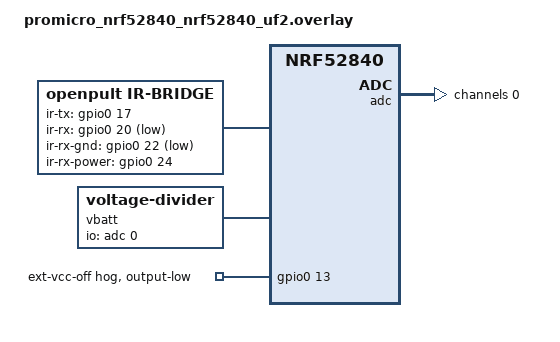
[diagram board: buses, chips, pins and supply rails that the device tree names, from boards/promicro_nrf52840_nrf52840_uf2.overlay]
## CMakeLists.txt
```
cmake_minimum_required(VERSION 3.20.0)

# The production overlays disable the USB controller; the debug build needs it back.
if(EXTRA_CONF_FILE MATCHES "debug\\.conf")
  list(APPEND EXTRA_DTC_OVERLAY_FILE ${CMAKE_CURRENT_SOURCE_DIR}/debug.overlay)
endif()

find_package(Zephyr REQUIRED HINTS $ENV{ZEPHYR_BASE})
project(openpult_ir)

# Protocol logic, OS independent (host-tested in tests/host).
file(GLOB IRPLAY_SOURCES ${CMAKE_CURRENT_SOURCE_DIR}/lib/irplay/src/*.c)
target_include_directories(app PRIVATE src lib/irplay/include)

target_sources(app PRIVATE
  ${IRPLAY_SOURCES}
  src/main.c
  src/ble.c
  src/ir.c
  src/battery.c
  src/battery_curve.c
)

if(CONFIG_SOC_FAMILY_NORDIC_NRF)
  target_sources(app PRIVATE
    src/hal/nrf/ir_hal_nrf.c
    src/hal/nrf/platform_nrf.c
  )
endif()
```

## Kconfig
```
mainmenu "openpult IR bridge"

menu "openpult IR bridge"

config OPENPULT_BATT_CELLS
	int "Battery cells in series"
	default 3
	range 1 4
	help
	  Alkaline or NiMH cells in the pack; the state of charge is computed from the
	  per-cell voltage (PROTOCOL.md, Battery).

config OPENPULT_BATT_DIODE_MV
	int "Drop between the battery and the measured node (mV)"
	default 250
	range 0 1000
	help
	  Added to the measured voltage, e.g. the Schottky diode in front of B+.
	  Use 0 when the battery is measured directly.

config OPENPULT_BATT_LI_ION
	bool "Li-ion battery"
	help
	  Use the Li-ion curve (4.20 V full, 3.30 V empty, low below 3.50 V per cell)
	  instead of the alkaline curve of the protocol. For boards measuring a Li-ion
	  cell on their BAT input; set OPENPULT_BATT_CELLS=1 and OPENPULT_BATT_DIODE_MV=0.

config OPENPULT_USB_POWERED
	bool "Powered from USB, no battery"
	help
	  No battery measurement; Status reports external power (flags bit4) with
	  battery_mV = 0 and the Battery Service reports 100 %.

config OPENPULT_LEARN
	bool "Learning with an IR receiver"
	default y
	select NRFX_GPPI if SOC_FAMILY_NORDIC_NRF
	help
	  Capture codes from a demodulating receiver wired as ir-rx-gpios in the
	  devicetree. Without that property the capability is not reported.

config OPENPULT_TX_HIGH_DRIVE
	bool "High drive strength on the IR output"
	default y
	help
	  Drives the LED straight from the pin (about 8 mA through 220 Ohm at 3.3 V).
	  Not needed with a transistor driver.

config OPENPULT_DEBUG_LED
	bool "Light led0 while IR is transmitted"
	depends on GPIO

module = OPENPULT
module-str = openpult
source "subsys/logging/Kconfig.template.log_config"

endmenu

# DIS strings from the build: firmware version from VERSION, hardware = board target.
config BT_DIS_FW_REV_STR
	default "$(APPVERSION)"

config BT_DIS_HW_REV_STR
	default "$(BOARD)/$(BOARD_QUALIFIERS)"

source "Kconfig.zephyr"
```

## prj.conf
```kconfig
# Production build: no console, no USB, no logs. debug.conf adds them.

# Bluetooth LE peripheral
CONFIG_BT=y
CONFIG_BT_PERIPHERAL=y
CONFIG_BT_DEVICE_NAME="OpenPult"
# Generic Remote Control
CONFIG_BT_DEVICE_APPEARANCE=384
CONFIG_BT_MAX_CONN=2
CONFIG_BT_CTLR_TX_PWR_0=y
# Static random identity address: iOS keys the accessory by it.
CONFIG_BT_PRIVACY=n

# Large writes in one ATT PDU (244 bytes); no prepared writes.
CONFIG_BT_L2CAP_TX_MTU=247
CONFIG_BT_BUF_ACL_RX_SIZE=251
CONFIG_BT_BUF_ACL_TX_SIZE=251
CONFIG_BT_CTLR_DATA_LENGTH_MAX=251
CONFIG_BT_ATT_PREPARE_COUNT=0

# LE Secure Connections, Just Works, bonding (2 bonds, oldest overwritten)
CONFIG_BT_SMP=y
CONFIG_BT_SMP_SC_PAIR_ONLY=y
CONFIG_BT_SMP_APP_PAIRING_ACCEPT=y
# Re-pairing after "Forget This Device" reuses the iPhone's identity; without this
# Zephyr refuses Just Works over the old key. Who may pair at all is decided in
# pairing_accept (no bonds yet, or 120 s after power-on).
CONFIG_BT_SMP_ALLOW_UNAUTH_OVERWRITE=y
CONFIG_BT_BONDABLE=y
CONFIG_BT_MAX_PAIRED=2
CONFIG_BT_KEYS_OVERWRITE_OLDEST=y
CONFIG_BT_SETTINGS=y

# Let iOS refresh its GATT cache after a firmware update changes the layout.
CONFIG_BT_GATT_SERVICE_CHANGED=y
CONFIG_BT_GATT_CACHING=y

# Connection parameters: 15-30 ms, latency 0, supervision timeout 4 s
CONFIG_BT_GAP_PERIPHERAL_PREF_PARAMS=y
CONFIG_BT_PERIPHERAL_PREF_MIN_INT=12
CONFIG_BT_PERIPHERAL_PREF_MAX_INT=24
CONFIG_BT_PERIPHERAL_PREF_LATENCY=0
CONFIG_BT_PERIPHERAL_PREF_TIMEOUT=400
CONFIG_BT_GAP_AUTO_UPDATE_CONN_PARAMS=y

CONFIG_BT_BAS=y
CONFIG_BT_DIS=y
CONFIG_BT_DIS_MODEL_NUMBER_STR="openpult-ir"
# Firmware revision from VERSION, hardware revision = board target (see Kconfig)
CONFIG_BT_DIS_FW_REV=y
CONFIG_BT_DIS_HW_REV=y

# Bonds live in the storage partition. Page erases in 3 ms slices: a full erase stalls
# the CPU for ~85 ms, longer than an IR refill deadline (one PWM half, >= 15 ms).
CONFIG_SOC_FLASH_NRF_PARTIAL_ERASE=y
CONFIG_FLASH=y
CONFIG_FLASH_MAP=y
CONFIG_NVS=y
CONFIG_SETTINGS=y

# IR through nrfx PWM/GPIOTE/PPI directly, battery through the ADC
CONFIG_NRFX_PWM=y
CONFIG_ADC=y
CONFIG_REBOOT=y

CONFIG_SYSTEM_WORKQUEUE_STACK_SIZE=2048

# Idle current: nothing but the radio and the RTC may run.
CONFIG_BOARD_SERIAL_BACKEND_CDC_ACM=n
CONFIG_USB_DEVICE_STACK_NEXT=n
CONFIG_SERIAL=n
CONFIG_CONSOLE=n
CONFIG_UART_CONSOLE=n
CONFIG_LOG=n
```

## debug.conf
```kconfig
# Debug build: USB CDC ACM console with logs, led0 lit while IR is transmitted.
#   west build -b <board> -d build-debug firmware -- -DEXTRA_CONF_FILE=debug.conf
# (CMakeLists.txt adds debug.overlay, which re-enables the USB controller.)

CONFIG_BOARD_SERIAL_BACKEND_CDC_ACM=y
CONFIG_USB_DEVICE_STACK_NEXT=y
CONFIG_SERIAL=y
CONFIG_CONSOLE=y
CONFIG_UART_CONSOLE=y

CONFIG_LOG=y
CONFIG_OPENPULT_LOG_LEVEL_DBG=y
CONFIG_BT_LOG_LEVEL_INF=y

CONFIG_OPENPULT_DEBUG_LED=y
CONFIG_ASSERT=y
```

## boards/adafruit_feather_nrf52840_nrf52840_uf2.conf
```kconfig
# Upstream board leaves the image at 0x0; link it into the code partition (0x26000)
# behind the SoftDevice area that the UF2 bootloader expects.
CONFIG_USE_DT_CODE_PARTITION=y

# The on-board QSPI flash is unused; its driver is only needed to put the chip into
# deep power-down at boot (suspend-devices in the overlay).
CONFIG_NORDIC_QSPI_NOR=y
CONFIG_PM_DEVICE=y

# Single Li-ion cell on the battery connector, measured directly.
CONFIG_OPENPULT_BATT_LI_ION=y
CONFIG_OPENPULT_BATT_CELLS=1
CONFIG_OPENPULT_BATT_DIODE_MV=0
```

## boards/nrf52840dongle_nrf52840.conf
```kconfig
CONFIG_OPENPULT_USB_POWERED=y
```

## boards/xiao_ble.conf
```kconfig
# The on-board QSPI flash is unused; its driver is only needed to put the chip into
# deep power-down at boot (suspend-devices in the overlay).
CONFIG_NORDIC_QSPI_NOR=y
CONFIG_PM_DEVICE=y

# Single Li-ion cell on BAT, measured directly.
CONFIG_OPENPULT_BATT_LI_ION=y
CONFIG_OPENPULT_BATT_CELLS=1
CONFIG_OPENPULT_BATT_DIODE_MV=0
```

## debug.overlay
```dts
/* Debug build: USB CDC ACM console (added automatically together with debug.conf). */

&usbd {
	status = "okay";
};
```

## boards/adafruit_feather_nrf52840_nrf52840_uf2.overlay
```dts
/*
 * Adafruit Feather nRF52840 Express, UF2 bootloader (S140 6.1.1 layout).
 * The battery (single Li-ion cell on the JST connector) is measured on the 100k/100k
 * divider on P0.29. Not a low-power board: the NeoPixel and the always-on divider draw
 * current the firmware cannot switch off.
 */

#include "../dts/openpult_common.dtsi"

/ {
	openpult {
		compatible = "openpult,ir-bridge";
		ir-pwm = <&pwm1>;
		/* D5 -> resistor -> IR LED (or the driver transistor) */
		ir-tx-gpios = <&gpio1 8 GPIO_ACTIVE_HIGH>;
		/* receiver on D6, D9, D10 (adjacent on the header): OUT, GND, VCC */
		ir-rx-gpios = <&gpio0 7 GPIO_ACTIVE_LOW>;
		ir-rx-gnd-gpios = <&gpio0 26 GPIO_ACTIVE_LOW>;
		ir-rx-power-gpios = <&gpio0 27 GPIO_ACTIVE_HIGH>;
		ir-rx-timer = <&timer2>;
		battery = <&{/vbatt}>;
		uf2-bootloader;
		suspend-devices = <&gd25q16>;
	};
};

&adc {
	channel@5 {
		reg = <5>;
		zephyr,gain = "ADC_GAIN_1_6";
		zephyr,reference = "ADC_REF_INTERNAL";
		zephyr,acquisition-time = <ADC_ACQ_TIME(ADC_ACQ_TIME_MICROSECONDS, 40)>;
		zephyr,input-positive = <NRF_SAADC_AIN5>;
		zephyr,resolution = <12>;
		zephyr,oversampling = <3>;
	};
};
```

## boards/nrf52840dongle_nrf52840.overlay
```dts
/*
 * Nordic nRF52840 Dongle (PCA10059) with its factory nRF5 SDK USB bootloader (no UF2,
 * so ENTER_BOOTLOADER answers 0x85). Meant to run from a USB charger.
 */

#include "../dts/openpult_common.dtsi"

/ {
	openpult {
		compatible = "openpult,ir-bridge";
		ir-pwm = <&pwm1>;
		/* P0.17 -> resistor -> IR LED (or the driver transistor) */
		ir-tx-gpios = <&gpio0 17 GPIO_ACTIVE_HIGH>;
		/* receiver: OUT P0.20, GND P0.22, VCC P0.24 */
		ir-rx-gpios = <&gpio0 20 GPIO_ACTIVE_LOW>;
		ir-rx-gnd-gpios = <&gpio0 22 GPIO_ACTIVE_LOW>;
		ir-rx-power-gpios = <&gpio0 24 GPIO_ACTIVE_HIGH>;
		ir-rx-timer = <&timer2>;
	};
};
```

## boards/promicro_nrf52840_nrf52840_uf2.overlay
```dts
/*
 * nRF52840 SuperMini / nice!nano v2 clones (Adafruit UF2 bootloader, S140 6.1.1 layout).
 * Powered on B+ (VDDH, high-voltage mode); the battery is measured on VDDH/5.
 */

#include "../dts/openpult_common.dtsi"

/ {
	openpult {
		compatible = "openpult,ir-bridge";
		ir-pwm = <&pwm1>;
		/* P0.17 -> 220 Ohm -> IR LED (or the driver transistor) */
		ir-tx-gpios = <&gpio0 17 GPIO_ACTIVE_HIGH>;
		/* receiver on three adjacent pins, VS1838B order OUT-GND-VCC */
		ir-rx-gpios = <&gpio0 20 GPIO_ACTIVE_LOW>;
		ir-rx-gnd-gpios = <&gpio0 22 GPIO_ACTIVE_LOW>;
		ir-rx-power-gpios = <&gpio0 24 GPIO_ACTIVE_HIGH>;
		ir-rx-timer = <&timer2>;
		battery = <&vbatt>;
		uf2-bootloader;
	};

	vbatt: vbatt {
		compatible = "voltage-divider";
		io-channels = <&adc 0>;
		output-ohms = <1>;
		full-ohms = <5>;
	};
};

&adc {
	channel@0 {
		reg = <0>;
		zephyr,gain = "ADC_GAIN_1_2";
		zephyr,reference = "ADC_REF_INTERNAL";
		zephyr,acquisition-time = <ADC_ACQ_TIME(ADC_ACQ_TIME_MICROSECONDS, 40)>;
		zephyr,input-positive = <NRF_SAADC_VDDHDIV5>;
		zephyr,resolution = <12>;
		zephyr,oversampling = <3>;
	};
};

/* P0.13 switches the board's VCC output; nothing is powered from it, keep it off. */
&gpio0 {
	ext-vcc-off {
		gpio-hog;
		gpios = <13 GPIO_ACTIVE_HIGH>;
		output-low;
	};
};
```

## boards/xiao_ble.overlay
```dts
/*
 * Seeed XIAO nRF52840 (Sense): UF2 bootloader (Adafruit fork), S140 7.x layout.
 * The battery (single Li-ion cell on BAT) is measured on the 1M/510k divider on P0.31.
 */

#include "../dts/openpult_common.dtsi"

/ {
	openpult {
		compatible = "openpult,ir-bridge";
		ir-pwm = <&pwm1>;
		/* D0 -> resistor -> IR LED (or the driver transistor) */
		ir-tx-gpios = <&gpio0 2 GPIO_ACTIVE_HIGH>;
		/* receiver on D1-D3, VS1838B order OUT-GND-VCC */
		ir-rx-gpios = <&gpio0 3 GPIO_ACTIVE_LOW>;
		ir-rx-gnd-gpios = <&gpio0 28 GPIO_ACTIVE_LOW>;
		ir-rx-power-gpios = <&gpio0 29 GPIO_ACTIVE_HIGH>;
		ir-rx-timer = <&timer2>;
		battery = <&vbatt>;
		uf2-bootloader;
		suspend-devices = <&p25q16h>;
	};

	vbatt: vbatt {
		compatible = "voltage-divider";
		io-channels = <&adc 7>;
		output-ohms = <510000>;
		full-ohms = <(1000000 + 510000)>;
	};
};

&adc {
	channel@7 {
		reg = <7>;
		zephyr,gain = "ADC_GAIN_1_6";
		zephyr,reference = "ADC_REF_INTERNAL";
		zephyr,acquisition-time = <ADC_ACQ_TIME(ADC_ACQ_TIME_MICROSECONDS, 40)>;
		zephyr,input-positive = <NRF_SAADC_AIN7>;
		zephyr,resolution = <12>;
		zephyr,oversampling = <3>;
	};
};

/*
 * P0.14 enables the BAT divider and must stay low: driving it high exposes P0.31 to
 * the full battery voltage. The divider then draws ~3 uA permanently.
 */
&gpio0 {
	vbat-enable {
		gpio-hog;
		gpios = <14 GPIO_ACTIVE_HIGH>;
		output-low;
	};
};
```

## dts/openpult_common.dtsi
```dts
/*
 * Shared by all board overlays: switch off every peripheral the bridge does not use,
 * so no driver initialises it and nothing draws current in idle.
 * debug.overlay re-enables USB for the debug build.
 */

#include <zephyr/dt-bindings/gpio/nordic-nrf-gpio.h>

&uart0 {
	status = "disabled";
};

&i2c0 {
	status = "disabled";
};

&i2c1 {
	status = "disabled";
};

&spi0 {
	status = "disabled";
};

&spi1 {
	status = "disabled";
};

&spi2 {
	status = "disabled";
};

&spi3 {
	status = "disabled";
};

/* pwm1 is the IR carrier generator (see ir-pwm) and must not get a Zephyr driver. */
&pwm0 {
	status = "disabled";
};

&pwm1 {
	status = "disabled";
};

&usbd {
	status = "disabled";
};

&ieee802154 {
	status = "disabled";
};

&adc {
	status = "okay";
	#address-cells = <1>;
	#size-cells = <0>;
};

/*
 * DC/DC regulators: lower idle and radio current, but only work if the board has the
 * inductors (REG0: on DCCH, REG1: between DCC and DEC4). Enabling them on a board
 * without the inductors leaves the chip unpowered until it is reflashed through the
 * bootloader. Check the schematic of your board first.
 *
 * &reg0 {
 *	status = "okay";
 * };
 *
 * &reg1 {
 *	regulator-initial-mode = <NRF5X_REG_MODE_DCDC>;
 * };
 */

/*
 * 32.768 kHz source. Some clone boards ship with a dead or missing crystal: the
 * firmware then hangs at boot waiting for LFXO. Switching to the internal RC
 * oscillator fixes that at the cost of periodic calibration (a few uA more).
 * (In Zephyr 4.5 this replaces CONFIG_CLOCK_CONTROL_NRF_K32SRC_RC of the legacy
 * clock driver.)
 *
 * &lfclk {
 *	k32src = "rc";
 *	k32src-accuracy-ppm = <500>;
 * };
 */
```

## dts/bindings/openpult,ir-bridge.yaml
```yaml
description: |
  Board wiring of an openpult BLE-to-IR bridge: the pins and peripherals the firmware
  uses. Exactly one enabled node with this compatible must exist; a board port is an
  overlay that defines it (see docs/firmware/porting-a-board.md).

compatible: "openpult,ir-bridge"

include: base.yaml

properties:
  ir-pwm:
    type: phandle
    required: true
    description: |
      nRF PWM instance generating the modulated carrier. The firmware drives it through
      nrfx directly, so the node must stay disabled (no Zephyr PWM driver on it).

  ir-tx-gpios:
    type: phandle-array
    required: true
    description: |
      IR LED or LED driver input; active level = LED on. High drive strength is
      selected by CONFIG_OPENPULT_TX_HIGH_DRIVE.

  ir-rx-gpios:
    type: phandle-array
    description: |
      Output of a demodulating IR receiver (VS1838B, TSOP38238, KY-022) for learning.
      Enables the LEARN capability.

  ir-rx-power-gpios:
    type: phandle-array
    description: |
      Supplies the receiver; driven active only while learning (the module draws
      about 0.4 mA).

  ir-rx-gnd-gpios:
    type: phandle-array
    description: |
      Optional GPIO used as the receiver's ground, so the module can sit on three
      adjacent pins. Driven to its active level permanently: use GPIO_ACTIVE_LOW.

  ir-rx-timer:
    type: phandle
    description: |
      TIMER instance timestamping receiver edges (1 MHz, through GPIOTE and PPI).
      Required with ir-rx-gpios. Keep the node disabled. TIMER0 and TIMER1 belong to
      the Bluetooth controller.

  battery:
    type: phandle
    description: |
      "voltage-divider" node of the battery measurement: ADC channel plus divider
      ratio (for the internal VDDH/5 input use output-ohms = 1, full-ohms = 5).
      Required unless the build sets CONFIG_OPENPULT_USB_POWERED.

  uf2-bootloader:
    type: boolean
    description: |
      The board runs an Adafruit-style UF2 bootloader that enters its USB drive mode
      when NRF_POWER->GPREGRET is 0x57 after a reset (ENTER_BOOTLOADER).

  suspend-devices:
    type: phandles
    description: |
      Devices suspended at boot to cut idle current, e.g. an unused QSPI flash (deep
      power-down). Needs CONFIG_PM_DEVICE.
```

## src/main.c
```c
#include <zephyr/bluetooth/conn.h>
#include <zephyr/device.h>
#include <zephyr/drivers/gpio.h>
#include <zephyr/kernel.h>
#include <zephyr/logging/log.h>
#include <zephyr/pm/device.h>
#include <zephyr/sys/atomic.h>
#include <zephyr/sys/util.h>

#include "battery.h"
#include "battery_curve.h"
#include "ble.h"
#include "hw.h"
#include "ir.h"
#include "irplay/bridge.h"
#include "irplay/capture.h"
#include "platform.h"

LOG_MODULE_REGISTER(main, CONFIG_OPENPULT_LOG_LEVEL);

#define BATTERY_PERIOD K_MINUTES(10)
#define BATTERY_RETRY K_MSEC(200)
#define BOOTLOADER_DELAY K_MSEC(150)
#define CAPTURE_RETRY K_MSEC(20)
#define CHEMISTRY (IS_ENABLED(CONFIG_OPENPULT_BATT_LI_ION) ? BATTERY_LI_ION : BATTERY_ALKALINE)

static uint16_t battery_mv;
static bool battery_measured;
static struct k_work_delayable battery_work;
static struct k_work_delayable reboot_work;

static struct k_work status_work;
static atomic_t status_force;
static uint8_t notified_flags = 0xFF;
static uint8_t notified_queue_free = 0xFF;

/* Capture notifications go to the client that started learning. */
static K_MUTEX_DEFINE(capture_lock);
static struct bt_conn *learn_conn;
static const struct ir_capture_result *capture;
static struct k_work_delayable capture_work;
static uint8_t capture_id;
static uint8_t capture_frag;
static uint16_t capture_pos;

#if defined(CONFIG_OPENPULT_DEBUG_LED) && DT_NODE_EXISTS(DT_ALIAS(led0))
static const struct gpio_dt_spec led = GPIO_DT_SPEC_GET(DT_ALIAS(led0), gpios);
#else
static const struct gpio_dt_spec led;
#endif

static uint8_t status_flags(void)
{
	uint8_t flags = 0;

	if (ir_transmitting()) {
		flags |= IRP_FLAG_TRANSMITTING;
	}
	if (ble_pairing_window_open()) {
		flags |= IRP_FLAG_PAIRING;
	}
	if (ir_learning()) {
		flags |= IRP_FLAG_LEARNING;
	}
	if (IS_ENABLED(CONFIG_OPENPULT_USB_POWERED)) {
		flags |= IRP_FLAG_EXT_POWER;
	} else if (battery_measured && battery_low(battery_mv, CONFIG_OPENPULT_BATT_CELLS, CHEMISTRY)) {
		flags |= IRP_FLAG_BATTERY_LOW;
	}
	return flags;
}

static uint16_t on_status(uint8_t *buf, uint16_t size)
{
	const struct irp_status st = {
		.flags = status_flags(),
		.battery_mv = battery_mv,
		.queue_free = ir_queue_free(),
		.last_error = ir_last_error(),
		.uptime_min = irp_uptime_min((uint64_t)k_uptime_get()),
		.caps = ir_caps(),
	};

	if (size < IRP_STATUS_LEN) {
		return 0;
	}
	irp_status_encode(&st, buf);
	return IRP_STATUS_LEN;
}

static void status_fn(struct k_work *work)
{
	ARG_UNUSED(work);

	uint8_t buf[IRP_STATUS_LEN];

	on_status(buf, sizeof(buf));
	if (led.port) {
		(void)gpio_pin_set_dt(&led, (buf[1] & IRP_FLAG_TRANSMITTING) != 0);
	}
	if (atomic_clear(&status_force) || buf[1] != notified_flags ||
	    buf[4] != notified_queue_free) {
		notified_flags = buf[1];
		notified_queue_free = buf[4];
		ble_notify_status(buf, sizeof(buf));
	}
}

static void status_changed(void)
{
	k_work_submit(&status_work);
}

static void status_notify(void)
{
	atomic_set(&status_force, 1);
	k_work_submit(&status_work);
}

/* Battery: never measured while transmitting, the LED current sags the cells. */
static void battery_fn(struct k_work *work)
{
	ARG_UNUSED(work);

	uint32_t activity = ir_activity();
	uint16_t mv;

	if (ir_transmitting()) {
		k_work_reschedule(&battery_work, BATTERY_RETRY);
		return;
	}
	if (battery_measure_mv(&mv) != 0) {
		k_work_reschedule(&battery_work, BATTERY_PERIOD);
		return;
	}
	if (ir_transmitting() || ir_activity() != activity) {
		k_work_reschedule(&battery_work, BATTERY_RETRY);
		return;
	}

	battery_mv = mv;
	battery_measured = true;
	ble_set_battery_level(battery_percent(mv, CONFIG_OPENPULT_BATT_CELLS, CHEMISTRY));
	LOG_INF("battery %u mV", mv);
	status_notify();
	k_work_reschedule(&battery_work, BATTERY_PERIOD);
}

static void reboot_fn(struct k_work *work)
{
	ARG_UNUSED(work);
	platform_enter_uf2_bootloader();
}

static void capture_release(void)
{
	if (learn_conn) {
		bt_conn_unref(learn_conn);
		learn_conn = NULL;
	}
	capture = NULL;
}

static void capture_fn(struct k_work *work)
{
	ARG_UNUSED(work);

	uint8_t buf[IRP_WRITE_MAX];
	bool last = false;

	k_mutex_lock(&capture_lock, K_FOREVER);
	while (capture && learn_conn && !last) {
		uint16_t pos = capture_pos;
		uint16_t max = MIN(ble_notify_max(learn_conn), sizeof(buf));
		size_t len = irp_capture_fragment(capture->durations, capture->count,
						  capture->flags, capture_id, capture_frag, &pos,
						  buf, max, &last);
		int err;

		if (len == 0) {
			break;
		}
		err = ble_notify_capture(learn_conn, buf, (uint16_t)len);
		if (err == -ENOMEM) {
			k_work_reschedule(&capture_work, CAPTURE_RETRY);
			k_mutex_unlock(&capture_lock);
			return;
		}
		if (err) {
			LOG_WRN("capture notify: %d", err);
			break;
		}
		capture_pos = pos;
		capture_frag++;
	}
	capture_release();
	k_mutex_unlock(&capture_lock);
}

static void on_captured(const struct ir_capture_result *result)
{
	k_mutex_lock(&capture_lock, K_FOREVER);
	capture = result;
	capture_id++;
	capture_frag = 0;
	capture_pos = 0;
	k_work_reschedule(&capture_work, K_NO_WAIT);
	k_mutex_unlock(&capture_lock);
}

static uint8_t on_command(struct bt_conn *conn, const uint8_t *data, uint16_t len)
{
	unsigned int actions;
	uint8_t err = ir_command(data, len, &actions);

	if (actions & (IRP_ACT_LEARN_START | IRP_ACT_LEARN_STOP)) {
		k_mutex_lock(&capture_lock, K_FOREVER);
		k_work_cancel_delayable(&capture_work);
		capture_release();
		if (actions & IRP_ACT_LEARN_START) {
			learn_conn = bt_conn_ref(conn);
		}
		k_mutex_unlock(&capture_lock);
	}
	if (actions & IRP_ACT_BOOTLOADER) {
		/* the write response goes out first */
		k_work_reschedule(&reboot_work, BOOTLOADER_DELAY);
	}
	return err;
}

static void on_client_ready(void)
{
	status_notify();
	if (!IS_ENABLED(CONFIG_OPENPULT_USB_POWERED)) {
		k_work_reschedule(&battery_work, K_NO_WAIT);
	}
}

static bool keep_alive(void)
{
	return ir_learning();
}

static void on_disconnected(struct bt_conn *conn)
{
	bool learning_client;

	k_mutex_lock(&capture_lock, K_FOREVER);
	learning_client = conn == learn_conn;
	if (learning_client) {
		k_work_cancel_delayable(&capture_work);
		capture_release();
	}
	k_mutex_unlock(&capture_lock);
	if (learning_client && ir_learning()) {
		ir_learn_cancel();
	}
}

static const struct ble_callbacks ble_cb = {
	.command = on_command,
	.status = on_status,
	.client_ready = on_client_ready,
	.pairing_changed = status_changed,
	.keep_alive = keep_alive,
	.disconnected = on_disconnected,
};

#define SUSPEND_DEVICE(node, prop, idx)                                                            \
	(void)pm_device_action_run(DEVICE_DT_GET(DT_PHANDLE_BY_IDX(node, prop, idx)),             \
				   PM_DEVICE_ACTION_SUSPEND);

static void suspend_unused_devices(void)
{
#if defined(CONFIG_PM_DEVICE) && DT_NODE_HAS_PROP(OPENPULT_NODE, suspend_devices)
	DT_FOREACH_PROP_ELEM(OPENPULT_NODE, suspend_devices, SUSPEND_DEVICE)
#endif
}

int main(void)
{
	int err;

	LOG_INF("openpult-ir %s on %s", CONFIG_BT_DIS_FW_REV_STR, CONFIG_BOARD_TARGET);

	suspend_unused_devices();
	k_work_init(&status_work, status_fn);
	k_work_init_delayable(&battery_work, battery_fn);
	k_work_init_delayable(&reboot_work, reboot_fn);
	k_work_init_delayable(&capture_work, capture_fn);

	if (led.port) {
		(void)gpio_pin_configure_dt(&led, GPIO_OUTPUT_INACTIVE);
	}

	err = ir_init(status_changed, on_captured);
	if (err) {
		LOG_ERR("ir: %d", err);
	}
	if (!IS_ENABLED(CONFIG_OPENPULT_USB_POWERED)) {
		err = battery_init();
		if (err) {
			LOG_ERR("battery: %d", err);
		}
	}
	err = ble_init(&ble_cb);
	if (err) {
		LOG_ERR("ble: %d", err);
	}

	if (IS_ENABLED(CONFIG_OPENPULT_USB_POWERED)) {
		ble_set_battery_level(100);
	} else {
		k_work_schedule(&battery_work, K_NO_WAIT);
	}
	return 0;
}
```

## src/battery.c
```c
#include <errno.h>
#include <zephyr/drivers/adc.h>
#include <zephyr/drivers/adc/voltage_divider.h>
#include <zephyr/sys/util.h>

#include "battery.h"
#include "hw.h"

#if DT_NODE_HAS_PROP(OPENPULT_NODE, battery)

static const struct voltage_divider_dt_spec divider =
	VOLTAGE_DIVIDER_DT_SPEC_GET(DT_PHANDLE(OPENPULT_NODE, battery));

int battery_init(void)
{
	if (!adc_is_ready_dt(&divider.port)) {
		return -ENODEV;
	}
	return adc_channel_setup_dt(&divider.port);
}

int battery_measure_mv(uint16_t *mv)
{
	int16_t raw;
	struct adc_sequence seq = {
		.buffer = &raw,
		.buffer_size = sizeof(raw),
		.calibrate = true,
	};
	int32_t val;
	int err;

	err = adc_sequence_init_dt(&divider.port, &seq);
	if (err == 0) {
		err = adc_read_dt(&divider.port, &seq);
	}
	if (err) {
		return err;
	}

	val = MAX(raw, 0);
	err = adc_raw_to_millivolts_dt(&divider.port, &val);
	if (err == 0) {
		err = voltage_divider_scale_dt(&divider, &val);
	}
	if (err) {
		return err;
	}

	*mv = (uint16_t)CLAMP(val + CONFIG_OPENPULT_BATT_DIODE_MV, 0, UINT16_MAX);
	return 0;
}

#else

#if !defined(CONFIG_OPENPULT_USB_POWERED)
#error "the openpult node has no battery property: add one or set CONFIG_OPENPULT_USB_POWERED"
#endif

int battery_init(void)
{
	return 0;
}

int battery_measure_mv(uint16_t *mv)
{
	ARG_UNUSED(mv);
	return -ENOTSUP;
}

#endif
```

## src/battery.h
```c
#ifndef BATTERY_H_
#define BATTERY_H_

#include <stdint.h>

int battery_init(void);

/*
 * One SAADC measurement of the battery node, scaled by the divider and corrected by
 * CONFIG_OPENPULT_BATT_DIODE_MV. Blocks for well under a millisecond.
 * Returns -ENOTSUP when the board has no battery measurement.
 */
int battery_measure_mv(uint16_t *mv);

#endif /* BATTERY_H_ */
```

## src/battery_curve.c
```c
#include <stddef.h>

#include "battery_curve.h"

struct point {
	uint16_t cell_mv;
	uint8_t pct;
};

static const struct point alkaline[] = {
	{1500, 100}, {1300, 60}, {1200, 35}, {1100, 15}, {1000, 0},
};

static const struct point li_ion[] = {
	{4200, 100}, {4000, 80}, {3870, 60}, {3780, 40}, {3700, 20}, {3600, 8}, {3300, 0},
};

static const struct {
	const struct point *points;
	size_t n;
	uint16_t low_cell_mv;
} curves[] = {
	[BATTERY_ALKALINE] = {alkaline, sizeof(alkaline) / sizeof(alkaline[0]), 1100},
	[BATTERY_LI_ION] = {li_ion, sizeof(li_ion) / sizeof(li_ion[0]), 3500},
};

uint8_t battery_percent(uint32_t stack_mv, uint8_t cells, enum battery_chemistry chem)
{
	const struct point *c = curves[chem].points;

	if (cells == 0) {
		return 0;
	}
	if (stack_mv >= (uint32_t)c[0].cell_mv * cells) {
		return c[0].pct;
	}
	for (size_t i = 1; i < curves[chem].n; i++) {
		uint32_t lo = (uint32_t)c[i].cell_mv * cells;

		if (stack_mv >= lo) {
			uint32_t span = (uint32_t)c[i - 1].cell_mv * cells - lo;
			uint32_t gain = (uint32_t)(c[i - 1].pct - c[i].pct);

			return (uint8_t)(c[i].pct + ((stack_mv - lo) * gain + span / 2) / span);
		}
	}
	return 0;
}

bool battery_low(uint32_t stack_mv, uint8_t cells, enum battery_chemistry chem)
{
	return stack_mv < (uint32_t)curves[chem].low_cell_mv * cells;
}
```

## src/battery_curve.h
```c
/* Cell-stack voltage -> state of charge. Pure C (host tests). */
#ifndef BATTERY_CURVE_H_
#define BATTERY_CURVE_H_

#include <stdbool.h>
#include <stdint.h>

enum battery_chemistry {
	/* PROTOCOL.md: 1.50 V 100 %, 1.30 V 60 %, 1.20 V 35 %, 1.10 V 15 %, 1.00 V 0 %;
	 * low below 1.10 V per cell */
	BATTERY_ALKALINE,
	/* 4.20 V 100 % ... 3.30 V 0 %; low below 3.50 V per cell */
	BATTERY_LI_ION,
};

/* Piecewise linear over the per-cell voltage, rounded to the nearest percent. */
uint8_t battery_percent(uint32_t stack_mv, uint8_t cells, enum battery_chemistry chem);

bool battery_low(uint32_t stack_mv, uint8_t cells, enum battery_chemistry chem);

#endif /* BATTERY_CURVE_H_ */
```

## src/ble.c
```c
#include <errno.h>
#include <zephyr/bluetooth/bluetooth.h>
#include <zephyr/bluetooth/conn.h>
#include <zephyr/bluetooth/gatt.h>
#include <zephyr/bluetooth/hci.h>
#include <zephyr/bluetooth/services/bas.h>
#include <zephyr/bluetooth/uuid.h>
#include <zephyr/kernel.h>
#include <zephyr/logging/log.h>
#include <zephyr/settings/settings.h>
#include <zephyr/spinlock.h>
#include <zephyr/sys/atomic.h>

#include "ble.h"

LOG_MODULE_REGISTER(ble, CONFIG_OPENPULT_LOG_LEVEL);

#define PAIRING_WINDOW_MS 120000
#define ENCRYPT_TIMEOUT K_SECONDS(30)
#define IDLE_TIMEOUT K_MINUTES(10)
#define FAST_ADV_MS 30000
#define ADV_RETRY K_SECONDS(1)

/* 152.5 ms and 546.25 ms (Apple accessory design guidelines), in 0.625 ms units */
#define ADV_FAST_INT 244
#define ADV_SLOW_INT 874

#define OPENPULT_UUID(n) BT_UUID_128_ENCODE(0x7B2A0000 | (n), 0x5C1E, 0x4F6B, 0x9D3A, 0x8E4F1C2B7A10)

static const struct bt_uuid_128 svc_uuid = BT_UUID_INIT_128(OPENPULT_UUID(0x0001));
static const struct bt_uuid_128 cmd_uuid = BT_UUID_INIT_128(OPENPULT_UUID(0x0002));
static const struct bt_uuid_128 status_uuid = BT_UUID_INIT_128(OPENPULT_UUID(0x0003));
static const struct bt_uuid_128 capture_uuid = BT_UUID_INIT_128(OPENPULT_UUID(0x0004));

static const struct ble_callbacks *app;

struct conn_slot {
	struct bt_conn *conn;
	struct k_work_delayable encrypt_timeout;
	struct k_work_delayable idle_timeout;
	bool pairing;
};

static struct conn_slot slots[CONFIG_BT_MAX_CONN];
static struct k_spinlock slots_lock;

enum adv_mode {
	ADV_OFF,
	ADV_FAST,
	ADV_SLOW,
};

/* Advertising is driven towards the wanted state by one work item, so stopping it to
 * change the interval (which frees its connection object and fires recycled) does not
 * restart anything by itself. */
static struct k_work_delayable adv_work;
static atomic_t adv_mode;
static atomic_t adv_lost;       /* the controller stopped advertising for a connection */
static int64_t fast_until_ms;   /* fast interval until this uptime */
static struct k_spinlock fast_lock;
static struct k_work_delayable pairing_window_work;
static struct k_work client_ready_work;

static const struct bt_data ad[] = {
	BT_DATA_BYTES(BT_DATA_FLAGS, (BT_LE_AD_GENERAL | BT_LE_AD_NO_BREDR)),
	BT_DATA_BYTES(BT_DATA_UUID128_ALL, OPENPULT_UUID(0x0001)),
};

static const struct bt_data sd[] = {
	BT_DATA(BT_DATA_NAME_COMPLETE, CONFIG_BT_DEVICE_NAME, sizeof(CONFIG_BT_DEVICE_NAME) - 1),
};

static const struct bt_le_adv_param adv_fast =
	BT_LE_ADV_PARAM_INIT(BT_LE_ADV_OPT_CONN, ADV_FAST_INT, ADV_FAST_INT, NULL);
static const struct bt_le_adv_param adv_slow =
	BT_LE_ADV_PARAM_INIT(BT_LE_ADV_OPT_CONN, ADV_SLOW_INT, ADV_SLOW_INT, NULL);

static struct conn_slot *slot_of(struct bt_conn *conn)
{
	return &slots[bt_conn_index(conn)];
}

/* Returns a new reference to the slot's connection, or NULL once it is gone. */
static struct bt_conn *slot_conn_get(struct conn_slot *slot)
{
	struct bt_conn *conn = NULL;
	k_spinlock_key_t key = k_spin_lock(&slots_lock);

	if (slot->conn) {
		conn = bt_conn_ref(slot->conn);
	}
	k_spin_unlock(&slots_lock, key);
	return conn;
}

static size_t conn_count(void)
{
	size_t n = 0;
	k_spinlock_key_t key = k_spin_lock(&slots_lock);

	ARRAY_FOR_EACH(slots, i) {
		n += slots[i].conn != NULL;
	}
	k_spin_unlock(&slots_lock, key);
	return n;
}

static void count_bond(const struct bt_bond_info *info, void *user_data)
{
	ARG_UNUSED(info);
	(*(size_t *)user_data)++;
}

bool ble_pairing_window_open(void)
{
	size_t bonds = 0;

	bt_foreach_bond(BT_ID_DEFAULT, count_bond, &bonds);
	return bonds == 0 || k_uptime_get() < PAIRING_WINDOW_MS;
}

/* GATT */

static ssize_t write_command(struct bt_conn *conn, const struct bt_gatt_attr *attr,
			     const void *buf, uint16_t len, uint16_t offset, uint8_t flags)
{
	ARG_UNUSED(attr);

	/* Writes without response would never trigger pairing on iOS. */
	if (flags & BT_GATT_WRITE_FLAG_CMD) {
		return BT_GATT_ERR(BT_ATT_ERR_WRITE_NOT_PERMITTED);
	}
	if (offset != 0) {
		return BT_GATT_ERR(BT_ATT_ERR_INVALID_OFFSET);
	}
	if (flags & BT_GATT_WRITE_FLAG_PREPARE) {
		return 0;
	}

	k_work_reschedule(&slot_of(conn)->idle_timeout, IDLE_TIMEOUT);

	uint8_t err = app->command(conn, buf, len);

	return err ? BT_GATT_ERR(err) : len;
}

static ssize_t read_status(struct bt_conn *conn, const struct bt_gatt_attr *attr, void *buf,
			   uint16_t len, uint16_t offset)
{
	uint8_t value[16];
	uint16_t n = app->status(value, sizeof(value));

	return bt_gatt_attr_read(conn, attr, buf, len, offset, value, n);
}

static ssize_t status_ccc_write(struct bt_conn *conn, const struct bt_gatt_attr *attr,
				uint16_t value)
{
	ARG_UNUSED(conn);
	ARG_UNUSED(attr);

	/* The value is stored after this returns; notify from the work queue. */
	if (value & BT_GATT_CCC_NOTIFY) {
		k_work_submit(&client_ready_work);
	}
	return sizeof(value);
}

BT_GATT_SERVICE_DEFINE(openpult_svc,
	BT_GATT_PRIMARY_SERVICE(&svc_uuid),
	BT_GATT_CHARACTERISTIC(&cmd_uuid.uuid, BT_GATT_CHRC_WRITE, BT_GATT_PERM_WRITE_ENCRYPT,
			       NULL, write_command, NULL),
	BT_GATT_CHARACTERISTIC(&status_uuid.uuid, BT_GATT_CHRC_READ | BT_GATT_CHRC_NOTIFY,
			       BT_GATT_PERM_READ_ENCRYPT, read_status, NULL, NULL),
	BT_GATT_CCC_WITH_WRITE_CB(NULL, status_ccc_write,
				  BT_GATT_PERM_READ | BT_GATT_PERM_WRITE_ENCRYPT),
	BT_GATT_CHARACTERISTIC(&capture_uuid.uuid, BT_GATT_CHRC_NOTIFY, BT_GATT_PERM_NONE, NULL,
			       NULL, NULL),
	BT_GATT_CCC(NULL, BT_GATT_PERM_READ | BT_GATT_PERM_WRITE_ENCRYPT),
);

#define STATUS_ATTR (&openpult_svc.attrs[4])
#define CAPTURE_ATTR (&openpult_svc.attrs[7])

void ble_notify_status(const uint8_t *data, uint16_t len)
{
	int err = bt_gatt_notify(NULL, STATUS_ATTR, data, len);

	if (err && err != -ENOTCONN) {
		LOG_DBG("status notify: %d", err);
	}
}

void ble_set_battery_level(uint8_t percent)
{
	(void)bt_bas_set_battery_level(percent);
}

uint16_t ble_notify_max(struct bt_conn *conn)
{
	return (uint16_t)(bt_gatt_get_mtu(conn) - 3);
}

int ble_notify_capture(struct bt_conn *conn, const uint8_t *data, uint16_t len)
{
	if (!bt_gatt_is_subscribed(conn, CAPTURE_ATTR, BT_GATT_CCC_NOTIFY)) {
		return -EINVAL;
	}
	return bt_gatt_notify(conn, CAPTURE_ATTR, data, len);
}

static void client_ready_fn(struct k_work *work)
{
	ARG_UNUSED(work);
	app->client_ready();
}

/* Advertising */

static void adv_fast_from_now(void)
{
	k_spinlock_key_t key = k_spin_lock(&fast_lock);

	fast_until_ms = k_uptime_get() + FAST_ADV_MS;
	k_spin_unlock(&fast_lock, key);
	k_work_reschedule(&adv_work, K_NO_WAIT);
}

static void adv_update(struct k_work *work)
{
	ARG_UNUSED(work);

	k_spinlock_key_t key = k_spin_lock(&fast_lock);
	int64_t fast_left = fast_until_ms - k_uptime_get();

	k_spin_unlock(&fast_lock, key);

	enum adv_mode want = conn_count() >= CONFIG_BT_MAX_CONN ? ADV_OFF
			     : fast_left > 0			  ? ADV_FAST
								  : ADV_SLOW;
	int err;

	if (atomic_clear(&adv_lost)) {
		atomic_set(&adv_mode, ADV_OFF);
	}
	if (want != (enum adv_mode)atomic_get(&adv_mode)) {
		if (atomic_get(&adv_mode) != ADV_OFF) {
			(void)bt_le_adv_stop();
			atomic_set(&adv_mode, ADV_OFF);
		}
		if (want != ADV_OFF) {
			err = bt_le_adv_start(want == ADV_FAST ? &adv_fast : &adv_slow, ad,
					      ARRAY_SIZE(ad), sd, ARRAY_SIZE(sd));
			if (err) {
				/* e.g. no free connection object until recycled */
				LOG_DBG("adv start: %d", err);
				k_work_reschedule(&adv_work, ADV_RETRY);
				return;
			}
			atomic_set(&adv_mode, want);
		}
	}
	if (want == ADV_FAST) {
		k_work_reschedule(&adv_work, K_MSEC(fast_left));
	}
}

/* Connections */

static void encrypt_timeout_fn(struct k_work *work)
{
	struct conn_slot *slot =
		CONTAINER_OF(k_work_delayable_from_work(work), struct conn_slot, encrypt_timeout);
	struct bt_conn *conn = slot_conn_get(slot);

	if (!conn) {
		return;
	}
	if (bt_conn_get_security(conn) < BT_SECURITY_L2) {
		if (slot->pairing) {
			/* The user may still be looking at the iOS pairing dialog;
			 * SMP has its own 30 s timeout ending in pairing_failed. */
			k_work_reschedule(&slot->encrypt_timeout, ENCRYPT_TIMEOUT);
		} else {
			LOG_INF("not encrypted in time, disconnecting");
			(void)bt_conn_disconnect(conn, BT_HCI_ERR_AUTH_FAIL);
		}
	}
	bt_conn_unref(conn);
}

static void idle_timeout_fn(struct k_work *work)
{
	struct conn_slot *slot =
		CONTAINER_OF(k_work_delayable_from_work(work), struct conn_slot, idle_timeout);
	struct bt_conn *conn = slot_conn_get(slot);

	if (!conn) {
		return;
	}
	if (app->keep_alive()) {
		k_work_reschedule(&slot->idle_timeout, IDLE_TIMEOUT);
	} else {
		LOG_INF("no commands for 10 min, disconnecting");
		(void)bt_conn_disconnect(conn, BT_HCI_ERR_REMOTE_USER_TERM_CONN);
	}
	bt_conn_unref(conn);
}

static void connected(struct bt_conn *conn, uint8_t err)
{
	struct conn_slot *slot;
	k_spinlock_key_t key;

	if (err) {
		LOG_WRN("connection failed: 0x%02x", err);
		atomic_set(&adv_lost, 1);
		k_work_reschedule(&adv_work, K_NO_WAIT);
		return;
	}

	slot = slot_of(conn);
	key = k_spin_lock(&slots_lock);
	slot->conn = bt_conn_ref(conn);
	slot->pairing = false;
	k_spin_unlock(&slots_lock, key);

	LOG_INF("connected");
	k_work_reschedule(&slot->encrypt_timeout, ENCRYPT_TIMEOUT);
	k_work_reschedule(&slot->idle_timeout, IDLE_TIMEOUT);
	atomic_set(&adv_lost, 1);
	k_work_reschedule(&adv_work, K_NO_WAIT); /* stay connectable for a second phone */
}

static void disconnected(struct bt_conn *conn, uint8_t reason)
{
	struct conn_slot *slot = slot_of(conn);
	struct bt_conn *old;
	k_spinlock_key_t key;

	LOG_INF("disconnected: 0x%02x", reason);

	k_work_cancel_delayable(&slot->encrypt_timeout);
	k_work_cancel_delayable(&slot->idle_timeout);

	key = k_spin_lock(&slots_lock);
	old = slot->conn;
	slot->conn = NULL;
	k_spin_unlock(&slots_lock, key);

	app->disconnected(conn);
	if (old) {
		bt_conn_unref(old);
	}
	adv_fast_from_now();
}

static void recycled(void)
{
	k_work_reschedule(&adv_work, K_NO_WAIT);
}

static void security_changed(struct bt_conn *conn, bt_security_t level, enum bt_security_err err)
{
	struct conn_slot *slot = slot_of(conn);

	LOG_INF("security level %d, err %d", level, err);
	if (err || level < BT_SECURITY_L2) {
		return;
	}
	slot->pairing = false;
	k_work_cancel_delayable(&slot->encrypt_timeout);
	k_work_submit(&client_ready_work);
}

BT_CONN_CB_DEFINE(conn_callbacks) = {
	.connected = connected,
	.disconnected = disconnected,
	.recycled = recycled,
	.security_changed = security_changed,
};

/* Pairing policy */

static enum bt_security_err pairing_accept(struct bt_conn *conn,
					   const struct bt_conn_pairing_feat *const feat)
{
	ARG_UNUSED(feat);

	if (!ble_pairing_window_open()) {
		LOG_WRN("pairing rejected: window closed");
		return BT_SECURITY_ERR_PAIR_NOT_ALLOWED;
	}
	slot_of(conn)->pairing = true;
	return BT_SECURITY_ERR_SUCCESS;
}

static const struct bt_conn_auth_cb auth_callbacks = {
	.pairing_accept = pairing_accept,
};

static void pairing_complete(struct bt_conn *conn, bool bonded)
{
	LOG_INF("paired, bonded %d", bonded);
	slot_of(conn)->pairing = false;
	app->pairing_changed();
}

static void pairing_failed(struct bt_conn *conn, enum bt_security_err reason)
{
	struct conn_slot *slot = slot_of(conn);

	LOG_WRN("pairing failed: %d", reason);
	slot->pairing = false;
	k_work_reschedule(&slot->encrypt_timeout, ENCRYPT_TIMEOUT);
}

static void bond_deleted(uint8_t id, const bt_addr_le_t *peer)
{
	ARG_UNUSED(id);
	ARG_UNUSED(peer);
	app->pairing_changed();
}

static struct bt_conn_auth_info_cb auth_info_callbacks = {
	.pairing_complete = pairing_complete,
	.pairing_failed = pairing_failed,
	.bond_deleted = bond_deleted,
};

static void pairing_window_fn(struct k_work *work)
{
	ARG_UNUSED(work);
	app->pairing_changed();
}

int ble_init(const struct ble_callbacks *cb)
{
	int err;

	app = cb;

	ARRAY_FOR_EACH(slots, i) {
		k_work_init_delayable(&slots[i].encrypt_timeout, encrypt_timeout_fn);
		k_work_init_delayable(&slots[i].idle_timeout, idle_timeout_fn);
	}
	k_work_init_delayable(&adv_work, adv_update);
	k_work_init_delayable(&pairing_window_work, pairing_window_fn);
	k_work_init(&client_ready_work, client_ready_fn);

	err = bt_conn_auth_cb_register(&auth_callbacks);
	if (!err) {
		err = bt_conn_auth_info_cb_register(&auth_info_callbacks);
	}
	if (!err) {
		err = bt_enable(NULL);
	}
	if (!err) {
		err = settings_load();
	}
	if (err) {
		LOG_ERR("init: %d", err);
		return err;
	}

	k_work_schedule(&pairing_window_work, K_MSEC(PAIRING_WINDOW_MS));
	adv_fast_from_now();
	return 0;
}
```

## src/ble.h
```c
#ifndef BLE_H_
#define BLE_H_

#include <stdbool.h>
#include <stdint.h>
#include <zephyr/bluetooth/conn.h>

struct ble_callbacks {
	/* Command characteristic write. Returns 0 or an ATT application error code. */
	uint8_t (*command)(struct bt_conn *conn, const uint8_t *data, uint16_t len);
	/* Fills the current Status value, returns its length. */
	uint16_t (*status)(uint8_t *buf, uint16_t size);
	/* A link became encrypted or a client subscribed to Status. */
	void (*client_ready)(void);
	/* Bonds or the pairing window changed. */
	void (*pairing_changed)(void);
	/* True while the idle disconnect must not happen (learning). */
	bool (*keep_alive)(void);
	/* A link went down; references to conn must be dropped. */
	void (*disconnected)(struct bt_conn *conn);
};

int ble_init(const struct ble_callbacks *cb);

/* New pairing is accepted only without bonds or during the window after power-on. */
bool ble_pairing_window_open(void);

void ble_notify_status(const uint8_t *data, uint16_t len);
void ble_set_battery_level(uint8_t percent);

/* Largest notification payload for this connection. */
uint16_t ble_notify_max(struct bt_conn *conn);

/* One Capture notification. -ENOMEM: retry later; -ENOTCONN/-EINVAL: give up. */
int ble_notify_capture(struct bt_conn *conn, const uint8_t *data, uint16_t len);

#endif /* BLE_H_ */
```

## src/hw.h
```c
/* The board wiring node (dts/bindings/openpult,ir-bridge.yaml). */
#ifndef HW_H_
#define HW_H_

#include <zephyr/devicetree.h>
#include <zephyr/toolchain.h>

BUILD_ASSERT(DT_HAS_COMPAT_STATUS_OKAY(openpult_ir_bridge),
	     "the board overlay must define an \"openpult,ir-bridge\" node");

#define OPENPULT_NODE DT_COMPAT_GET_ANY_STATUS_OKAY(openpult_ir_bridge)

#endif /* HW_H_ */
```

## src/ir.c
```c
#include <string.h>
#include <zephyr/kernel.h>
#include <zephyr/logging/log.h>
#include <zephyr/spinlock.h>
#include <zephyr/sys/atomic.h>

#include "hw.h"
#include "ir.h"
#include "ir_hal.h"
#include "irplay/bridge.h"
#include "irplay/capture.h"

LOG_MODULE_REGISTER(ir, CONFIG_OPENPULT_LOG_LEVEL);

#define WARMUP K_MSEC(20)
#define POLL_PERIOD K_MSEC(10)

enum clock_state {
	CLOCK_OFF,
	CLOCK_REQUESTED,
	CLOCK_ON,
};

enum learn_state {
	LEARN_IDLE,
	LEARN_WARMUP,
	LEARN_CAPTURE,
};

static ir_changed_cb_t changed_cb;
static ir_captured_cb_t captured_cb;

/* Protocol state; touched by the Bluetooth thread and the IR work queue. */
static struct irp_bridge bridge;
static K_MUTEX_DEFINE(bridge_lock);

/* Transmission runs on its own cooperative work queue: the system work queue can be
 * blocked by flash writes. Interrupt handlers only submit kick_work. */
static K_THREAD_STACK_DEFINE(wq_stack, 1024);
static struct k_work_q wq;
static struct k_work kick_work;
static struct k_timer gap_timer;
static atomic_t clock_state;
static atomic_t done_pending;
static atomic_t activity;
static bool on_air;

/* Learning control runs in the Bluetooth thread and the system work queue. */
static K_MUTEX_DEFINE(learn_lock);
static struct irp_capture capture;
static struct k_spinlock capture_lock;
static atomic_t learn_state;
static atomic_t learn_timed_out;
static struct k_work_delayable learn_arm_work;
static struct k_work learn_end_work;
static struct k_timer learn_poll_timer;
static struct k_timer learn_timeout_timer;
static struct ir_capture_result result;
static uint32_t armed_us; /* edges up to this time are already in the level read at arming */

static uint64_t now_us(void)
{
	return k_ticks_to_us_floor64(k_uptime_ticks());
}

static void kick(void)
{
	k_work_submit_to_queue(&wq, &kick_work);
}

static void tx_done(int err)
{
	if (err) {
		LOG_WRN("section aborted: %d", err);
	}
	atomic_set(&done_pending, 1);
	kick();
}

static void clock_ready(void)
{
	/* ignore a completion racing with the release */
	if (atomic_cas(&clock_state, CLOCK_REQUESTED, CLOCK_ON)) {
		kick();
	}
}

static void gap_expired(struct k_timer *timer)
{
	ARG_UNUSED(timer);
	kick();
}

/* Starts the next unit if one is due. Called with bridge_lock held. */
static void schedule(uint64_t now)
{
	struct irp_player *p = &bridge.player;
	struct irp_unit unit;
	uint64_t not_before;

	while (irp_player_peek(p, &unit, &not_before)) {
		if (atomic_get(&clock_state) != CLOCK_ON) {
			if (atomic_cas(&clock_state, CLOCK_OFF, CLOCK_REQUESTED) &&
			    ir_hal_tx_power(true, clock_ready) < 0) {
				/* run from the internal oscillator rather than not at all */
				atomic_set(&clock_state, CLOCK_ON);
				continue;
			}
			return;
		}
		if (not_before > now) {
			k_timer_start(&gap_timer, K_USEC(not_before - now), K_NO_WAIT);
			return;
		}

		irp_player_start(p);
		if (ir_hal_tx_start(&p->cur.sig, unit.section) == 0) {
			on_air = true;
			atomic_inc(&activity);
			return;
		}
		LOG_WRN("section rejected by the transmitter");
		irp_player_done(p, now);
	}

	if (atomic_set(&clock_state, CLOCK_OFF) != CLOCK_OFF) {
		(void)ir_hal_tx_power(false, NULL);
	}
}

static void kick_fn(struct k_work *work)
{
	ARG_UNUSED(work);

	uint64_t now = now_us();

	k_mutex_lock(&bridge_lock, K_FOREVER);
	if (atomic_clear(&done_pending)) {
		irp_player_done(&bridge.player, now);
		on_air = false;
	}
	if (!on_air) {
		schedule(now);
	}
	k_mutex_unlock(&bridge_lock);
	changed_cb();
}

/* Learning */

static void rx_edge(uint32_t t_us)
{
	bool done;
	k_spinlock_key_t key;

	if (atomic_get(&learn_state) != LEARN_CAPTURE) {
		return;
	}
	key = k_spin_lock(&capture_lock);
	if ((int32_t)(t_us - armed_us) <= 0) {
		k_spin_unlock(&capture_lock, key);
		return;
	}
	irp_capture_edge(&capture, t_us);
	done = capture.done;
	k_spin_unlock(&capture_lock, key);
	if (done) {
		k_work_submit(&learn_end_work);
	}
}

static void learn_poll(struct k_timer *timer)
{
	ARG_UNUSED(timer);

	bool done;
	k_spinlock_key_t key = k_spin_lock(&capture_lock);

	done = irp_capture_poll(&capture, ir_hal_rx_now_us());
	k_spin_unlock(&capture_lock, key);
	if (done) {
		k_work_submit(&learn_end_work);
	}
}

static void learn_timeout(struct k_timer *timer)
{
	ARG_UNUSED(timer);
	atomic_set(&learn_timed_out, 1);
	k_work_submit(&learn_end_work);
}

static void learn_arm_fn(struct k_work *work)
{
	ARG_UNUSED(work);

	k_mutex_lock(&learn_lock, K_FOREVER);
	if (atomic_get(&learn_state) == LEARN_WARMUP) {
		if (ir_hal_rx_capture(true) == 0) {
			k_spinlock_key_t key = k_spin_lock(&capture_lock);

			/* a remote already sending must not invert the capture */
			irp_capture_set_level(&capture, ir_hal_rx_level());
			armed_us = ir_hal_rx_now_us();
			atomic_set(&learn_state, LEARN_CAPTURE);
			k_spin_unlock(&capture_lock, key);
			k_timer_start(&learn_poll_timer, POLL_PERIOD, POLL_PERIOD);
		} else {
			LOG_ERR("capture start failed");
			atomic_set(&learn_timed_out, 1);
			k_work_submit(&learn_end_work);
		}
	}
	k_mutex_unlock(&learn_lock);
}

static void learn_hw_off(void)
{
	atomic_set(&learn_state, LEARN_IDLE);
	k_timer_stop(&learn_poll_timer);
	k_timer_stop(&learn_timeout_timer);
	k_work_cancel_delayable(&learn_arm_work);
	(void)ir_hal_rx_capture(false);
	(void)ir_hal_rx_power(false);
}

static void learn_stop(void)
{
	k_mutex_lock(&learn_lock, K_FOREVER);
	learn_hw_off();
	k_mutex_unlock(&learn_lock);
}

static void learn_start(uint8_t timeout_s)
{
	k_mutex_lock(&learn_lock, K_FOREVER);
	learn_hw_off();
	irp_capture_reset(&capture);
	atomic_set(&learn_timed_out, 0);
	(void)ir_hal_rx_power(true);
	atomic_set(&learn_state, LEARN_WARMUP);
	k_work_reschedule(&learn_arm_work, WARMUP);
	k_timer_start(&learn_timeout_timer, K_SECONDS(timeout_s), K_NO_WAIT);
	k_mutex_unlock(&learn_lock);
	LOG_INF("learning for %u s", timeout_s);
}

static void learn_end_fn(struct k_work *work)
{
	ARG_UNUSED(work);

	k_mutex_lock(&learn_lock, K_FOREVER);
	if (atomic_get(&learn_state) == LEARN_IDLE ||
	    (!capture.done && !atomic_get(&learn_timed_out))) {
		k_mutex_unlock(&learn_lock);
		return;
	}
	learn_hw_off(); /* no more edges: the capture is stable from here on */

	if (capture.done) {
		result.count = capture.count;
		result.flags = capture.flags;
		memcpy(result.durations, capture.durations, capture.count * sizeof(uint32_t));
	} else {
		result.count = 0;
		result.flags = IRP_CAPTURE_TIMEOUT;
	}
	k_mutex_unlock(&learn_lock);
	LOG_INF("capture: %u durations, flags 0x%02x", result.count, result.flags);

	k_mutex_lock(&bridge_lock, K_FOREVER);
	irp_bridge_learn_done(&bridge);
	k_mutex_unlock(&bridge_lock);
	changed_cb();
	captured_cb(&result);
}

uint8_t ir_command(const uint8_t *data, uint16_t len, unsigned int *actions)
{
	uint8_t err;
	uint8_t timeout_s;

	k_mutex_lock(&bridge_lock, K_FOREVER);
	err = irp_bridge_command(&bridge, data, len, now_us(), actions);
	timeout_s = bridge.learn_timeout_s;
	k_mutex_unlock(&bridge_lock);

	if (*actions & IRP_ACT_LEARN_STOP) {
		learn_stop();
	}
	if (*actions & IRP_ACT_LEARN_START) {
		learn_start(timeout_s);
	}
	if (*actions & IRP_ACT_PLAYER) {
		kick();
	}
	changed_cb();
	return err;
}

void ir_learn_cancel(void)
{
	learn_stop();
	k_mutex_lock(&bridge_lock, K_FOREVER);
	irp_bridge_learn_done(&bridge);
	k_mutex_unlock(&bridge_lock);
	changed_cb();
}

bool ir_transmitting(void)
{
	bool busy;

	k_mutex_lock(&bridge_lock, K_FOREVER);
	busy = irp_player_busy(&bridge.player);
	k_mutex_unlock(&bridge_lock);
	return busy;
}

bool ir_learning(void)
{
	return bridge.learning;
}

uint8_t ir_queue_free(void)
{
	uint8_t n;

	k_mutex_lock(&bridge_lock, K_FOREVER);
	n = irp_player_queue_free(&bridge.player);
	k_mutex_unlock(&bridge_lock);
	return n;
}

uint8_t ir_last_error(void)
{
	return bridge.last_error;
}

uint8_t ir_caps(void)
{
	return bridge.caps;
}

uint32_t ir_activity(void)
{
	return (uint32_t)atomic_get(&activity);
}

int ir_init(ir_changed_cb_t changed, ir_captured_cb_t captured)
{
	uint8_t caps = IRP_CAP_PLAY | IRP_CAP_SEND;
	int err;

	changed_cb = changed;
	captured_cb = captured;

	if (IS_ENABLED(CONFIG_OPENPULT_LEARN) && ir_hal_rx_present()) {
		caps |= IRP_CAP_LEARN;
	}
	if (DT_PROP(OPENPULT_NODE, uf2_bootloader)) {
		caps |= IRP_CAP_UF2;
	}
	irp_bridge_init(&bridge, caps);

	const struct k_work_queue_config wq_cfg = {.name = "ir"};

	k_work_queue_start(&wq, wq_stack, K_THREAD_STACK_SIZEOF(wq_stack), K_PRIO_COOP(5),
			   &wq_cfg);
	k_work_init(&kick_work, kick_fn);
	k_timer_init(&gap_timer, gap_expired, NULL);
	k_work_init_delayable(&learn_arm_work, learn_arm_fn);
	k_work_init(&learn_end_work, learn_end_fn);
	k_timer_init(&learn_poll_timer, learn_poll, NULL);
	k_timer_init(&learn_timeout_timer, learn_timeout, NULL);

	err = ir_hal_init(tx_done, rx_edge);
	if (err) {
		LOG_ERR("hal init: %d", err);
	}
	return err;
}
```

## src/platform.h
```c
/* SoC-specific services outside the IR path (src/hal/<family>/platform_*.c). */
#ifndef PLATFORM_H_
#define PLATFORM_H_

/* Resets into the UF2 bootloader's USB drive mode. Does not return. */
void platform_enter_uf2_bootloader(void);

#endif /* PLATFORM_H_ */
```
